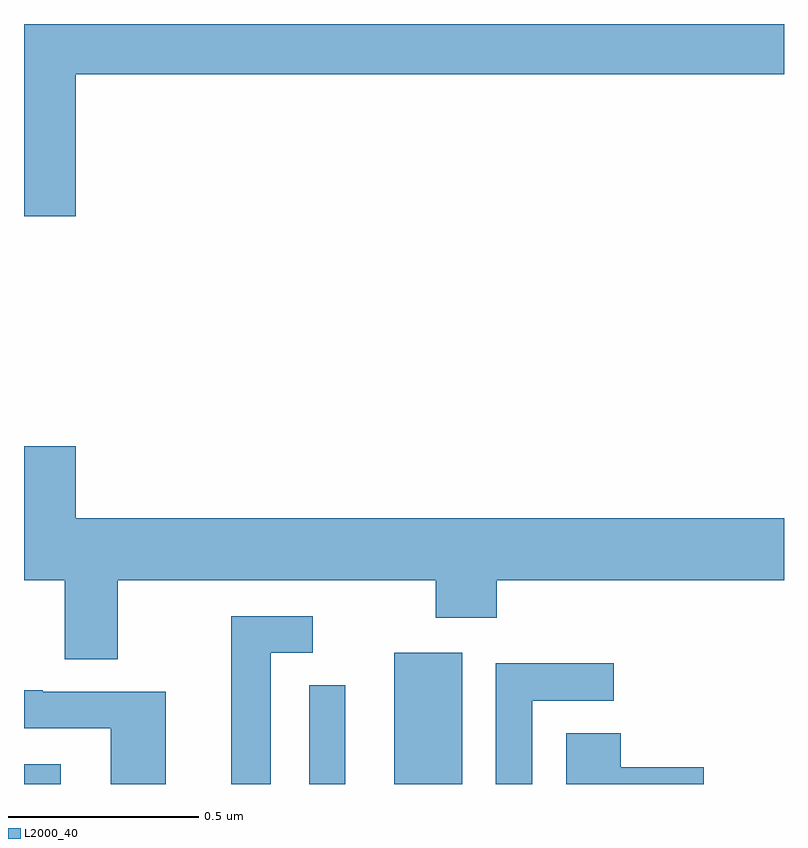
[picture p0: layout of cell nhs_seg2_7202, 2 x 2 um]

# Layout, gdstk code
import gdstk
lib = gdstk.Library(unit=1e-6, precision=1e-09)
def R(c, l, rs):  # rectangles x0, y0, x1, y1
    for r in rs: c.add(gdstk.rectangle(r[:2], r[2:], *l))
def P(c, l, *ps):  # polygons
    for p in ps: c.add(gdstk.Polygon(p, *l))
L2000_40 = (2000, 40)

nhs_seg2_7202 = lib.new_cell('nhs_seg2_7202')
R(nhs_seg2_7202, L2000_40, [(201,613.8,201.097,613.852), (201.974,613.8,202.153,614.146)])
P(nhs_seg2_7202, L2000_40, [(201.136,615.668),(203,615.668),(203,615.8),(201,615.8),(201,615.294),(201.136,615.294)],
  [(201.247,614.336),(202.084,614.336),(202.084,614.237),(202.244,614.237),(202.244,614.336),(203,614.336),(203,614.5),(201.136,614.5),(201.136,614.689),(201,614.689),(201,614.336),(201.107,614.336),(201.107,614.128),(201.247,614.128)],
  [(201.649,614.145),(201.76,614.145),(201.76,614.241),(201.545,614.241),(201.545,613.8),(201.649,613.8)],
  [(202.338,614.019),(202.552,614.019),(202.552,614.118),(202.242,614.118),(202.242,613.8),(202.338,613.8)],
  [(201.845,613.906),(201.846,613.906),(201.846,614.06),(201.75,614.06),(201.75,613.8),(201.845,613.8)],
  [(201.373,614.043),(201.049,614.043),(201.049,614.047),(201,614.047),(201,613.947),(201.228,613.947),(201.228,613.8),(201.373,613.8)],
  [(202.789,613.844),(202.571,613.844),(202.571,613.934),(202.427,613.934),(202.427,613.8),(202.789,613.8)])

lib.write_gds('nhs_seg2_7202.gds')
